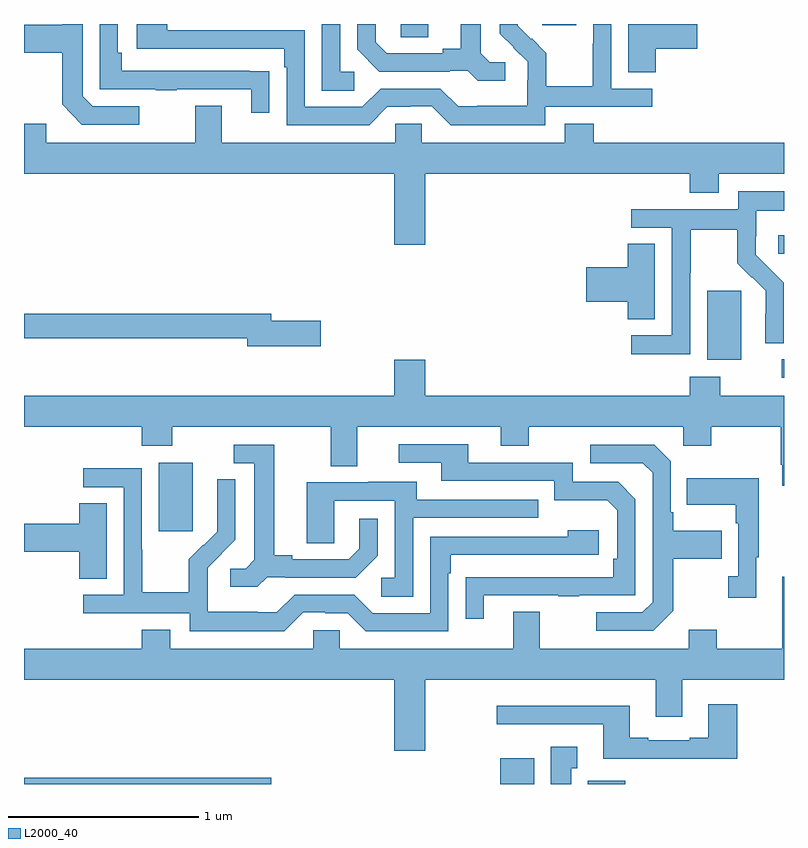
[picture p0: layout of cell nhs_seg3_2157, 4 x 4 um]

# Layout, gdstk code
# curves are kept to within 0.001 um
import gdstk
lib = gdstk.Library(unit=1e-6, precision=1e-09)
def R(c, l, rs):  # rectangles x0, y0, x1, y1
    for r in rs: c.add(gdstk.rectangle(r[:2], r[2:], *l))
def P(c, l, *ps):  # polygons
    for p in ps: c.add(gdstk.Polygon(p, *l))
L2000_40 = (2000, 40)

nhs_seg3_2157 = lib.new_cell('nhs_seg3_2157')
R(nhs_seg3_2157, L2000_40, [(223,668.4,224.302,668.432), (225.506,668.4,225.685,668.536), (225.968,668.4,226.165,668.416), (223.709,669.729,223.888,670.09), (226.989,670.539,227,670.635), (226.595,670.634,226.774,670.995), (226.971,671.19,227,671.287), (224.982,672.331,225.127,672.4), (225.728,672.393,225.907,672.4)])
P(nhs_seg3_2157, L2000_40, [(224.291,672.152),(224.189,672.152),(224.189,672.153),(223.514,672.153),(223.514,672.25),(223.494,672.25),(223.494,672.4),(223.398,672.4),(223.398,672.057),(223.693,672.057),(223.693,672.052),(223.805,672.052),(223.805,672.057),(224.195,672.057),(224.195,671.934),(224.291,671.934)],
  [(224.737,672.15),(224.664,672.15),(224.664,672.4),(224.568,672.4),(224.568,672.049),(224.737,672.049)],
  [(225.744,671.964),(226.306,671.964),(226.306,672.06),(226.092,672.06),(226.092,672.4),(225.996,672.4),(225.996,672.296),(225.994,672.296),(225.994,672.073),(225.749,672.073),(225.749,672.247),(225.672,672.324),(225.669,672.321),(225.599,672.392),(225.599,672.4),(225.504,672.4),(225.504,672.35),(225.65,672.202),(225.65,672.105),(225.648,672.105),(225.648,671.971),(225.385,671.971),(225.385,671.967),(225.285,671.967),(225.192,672.06),(224.877,672.06),(224.781,671.964),(224.478,671.964),(224.478,672.366),(223.754,672.366),(223.754,672.4),(223.593,672.4),(223.593,672.27),(224.369,672.27),(224.369,672.173),(224.382,672.173),(224.382,671.868),(224.817,671.868),(224.913,671.964),(225.032,671.964),(225.032,671.967),(225.147,671.967),(225.247,671.867),(225.744,671.867)],
  [(226.325,672.269),(226.543,672.269),(226.543,672.4),(226.181,672.4),(226.181,672.145),(226.325,672.145)],
  [(225.532,672.198),(225.45,672.198),(225.403,672.245),(225.403,672.4),(225.299,672.4),(225.299,672.269),(225.203,672.269),(225.203,672.246),(224.908,672.246),(224.851,672.303),(224.851,672.4),(224.754,672.4),(224.754,672.266),(224.87,672.15),(225.242,672.15),(225.242,672.153),(225.336,672.153),(225.388,672.101),(225.532,672.101)],
  [(223.606,671.967),(223.362,671.967),(223.308,672.021),(223.308,672.4),(223.2,672.4),(223.2,672.397),(223,672.397),(223,672.25),(223.2,672.25),(223.2,671.977),(223.305,671.871),(223.606,671.871)],
  [(225.112,671.612),(226.505,671.612),(226.505,671.513),(226.657,671.513),(226.657,671.612),(227,671.612),(227,671.776),(225.998,671.776),(225.998,671.875),(225.845,671.875),(225.845,671.776),(225.093,671.776),(225.093,671.874),(224.955,671.874),(224.955,671.776),(224.041,671.776),(224.041,671.971),(223.901,671.971),(223.901,671.776),(223.117,671.776),(223.117,671.875),(223,671.875),(223,671.612),(224.948,671.612),(224.948,671.238),(225.112,671.238)],
  [(226.506,671.092),(226.509,671.092),(226.509,671.316),(226.753,671.316),(226.753,671.141),(226.83,671.064),(226.833,671.067),(226.904,670.997),(226.904,670.874),(226.902,670.874),(226.902,670.72),(226.998,670.72),(226.998,671.038),(226.852,671.186),(226.852,671.283),(226.854,671.283),(226.854,671.417),(227,671.417),(227,671.521),(226.758,671.521),(226.758,671.424),(226.197,671.424),(226.197,671.328),(226.41,671.328),(226.41,670.761),(226.197,670.761),(226.197,670.663),(226.506,670.663)],
  [(226.321,671.243),(226.178,671.243),(226.178,671.12),(225.96,671.12),(225.96,670.937),(226.178,670.937),(226.178,670.846),(226.321,670.846)],
  [(224.563,670.838),(224.302,670.838),(224.302,670.874),(223,670.874),(223,670.746),(224.174,670.746),(224.174,670.703),(224.563,670.703)],
  [(227,670.444),(226.665,670.444),(226.665,670.543),(226.505,670.543),(226.505,670.444),(225.112,670.444),(225.112,670.633),(224.948,670.633),(224.948,670.444),(223,670.444),(223,670.28),(223.619,670.28),(223.619,670.181),(223.779,670.181),(223.779,670.28),(224.615,670.28),(224.615,670.072),(224.755,670.072),(224.755,670.28),(225.509,670.28),(225.509,670.181),(225.657,670.181),(225.657,670.28),(226.47,670.28),(226.47,670.181),(226.617,670.181),(226.617,670.28),(226.984,670.28),(226.984,670.081),(226.991,670.081),(226.991,669.969),(227,669.969)],
  [(225.421,669.393),(225.811,669.393),(225.811,669.388),(225.923,669.388),(225.923,669.393),(226.218,669.393),(226.218,669.9),(226.128,669.99),(225.888,669.99),(225.888,670.092),(225.337,670.092),(225.337,670.188),(224.973,670.188),(224.973,670.092),(225.197,670.092),(225.197,669.996),(225.792,669.996),(225.792,669.893),(226.069,669.893),(226.122,669.84),(226.122,669.586),(226.102,669.586),(226.102,669.489),(225.325,669.488),(225.325,669.27),(225.421,669.27)],
  [(224.28,669.489),(224.374,669.489),(224.374,669.486),(224.746,669.486),(224.862,669.602),(224.862,669.796),(224.765,669.796),(224.765,669.639),(224.708,669.582),(224.413,669.582),(224.413,669.605),(224.317,669.605),(224.317,670.185),(224.103,670.185),(224.103,670.089),(224.213,670.089),(224.213,669.581),(224.166,669.534),(224.085,669.534),(224.085,669.437),(224.228,669.437)],
  [(226.417,669.313),(226.417,669.586),(226.673,669.586),(226.673,669.733),(226.417,669.733),(226.417,669.829),(226.404,669.829),(226.404,670.098),(226.317,670.185),(225.981,670.185),(225.981,670.089),(226.257,670.089),(226.308,670.038),(226.308,669.357),(226.254,669.303),(226.011,669.303),(226.011,669.207),(226.311,669.207)],
  [(224.469,669.303),(224.585,669.303),(224.585,669.3),(224.703,669.3),(224.799,669.204),(225.234,669.204),(225.234,669.509),(225.247,669.509),(225.247,669.606),(226.024,669.606),(226.024,669.736),(225.863,669.736),(225.863,669.702),(225.138,669.702),(225.138,669.3),(224.835,669.3),(224.739,669.396),(224.424,669.396),(224.331,669.303),(224.231,669.303),(224.231,669.307),(223.968,669.307),(223.968,669.441),(223.966,669.441),(223.966,669.538),(224.112,669.686),(224.112,670.004),(224.016,670.004),(224.016,669.85),(224.018,669.85),(224.018,669.728),(223.947,669.657),(223.944,669.66),(223.867,669.583),(223.867,669.409),(223.623,669.409),(223.623,669.632),(223.62,669.632),(223.62,670.062),(223.311,670.062),(223.311,669.963),(223.524,669.963),(223.524,669.396),(223.311,669.396),(223.311,669.3),(223.872,669.3),(223.872,669.203),(224.369,669.203)],
  [(226.855,669.593),(226.867,669.593),(226.867,670.009),(226.489,670.009),(226.489,669.869),(226.746,669.869),(226.746,669.773),(226.758,669.773),(226.758,669.494),(226.707,669.494),(226.707,669.381),(226.855,669.381)],
  [(225.048,669.801),(225.707,669.801),(225.707,669.897),(225.067,669.897),(225.067,669.991),(224.813,669.991),(224.813,669.987),(224.489,669.987),(224.489,669.667),(224.634,669.667),(224.634,669.891),(224.952,669.891),(224.952,669.486),(224.88,669.486),(224.88,669.385),(225.048,669.385)],
  [(223.435,669.878),(223.292,669.878),(223.292,669.77),(223,669.77),(223,669.623),(223.292,669.623),(223.292,669.481),(223.435,669.481)],
  [(225.112,668.948),(226.325,668.948),(226.325,668.754),(226.465,668.754),(226.465,668.948),(227,668.948),(227,669.49),(226.991,669.49),(226.991,669.112),(226.647,669.112),(226.647,669.211),(226.499,669.211),(226.499,669.112),(225.715,669.112),(225.715,669.307),(225.575,669.307),(225.575,669.112),(224.661,669.112),(224.661,669.21),(224.523,669.21),(224.523,669.112),(223.771,669.112),(223.771,669.211),(223.619,669.211),(223.619,669.112),(223,669.112),(223,668.948),(224.948,668.948),(224.948,668.574),(225.112,668.574)],
  [(226.754,668.821),(226.601,668.821),(226.601,668.644),(226.505,668.644),(226.505,668.631),(226.285,668.631),(226.285,668.644),(226.189,668.644),(226.189,668.812),(225.489,668.812),(225.489,668.715),(226.049,668.715),(226.049,668.534),(226.754,668.534)],
  [(225.88,668.483),(225.913,668.483),(225.913,668.596),(225.773,668.596),(225.773,668.4),(225.88,668.4)])

lib.write_gds('nhs_seg3_2157.gds')
